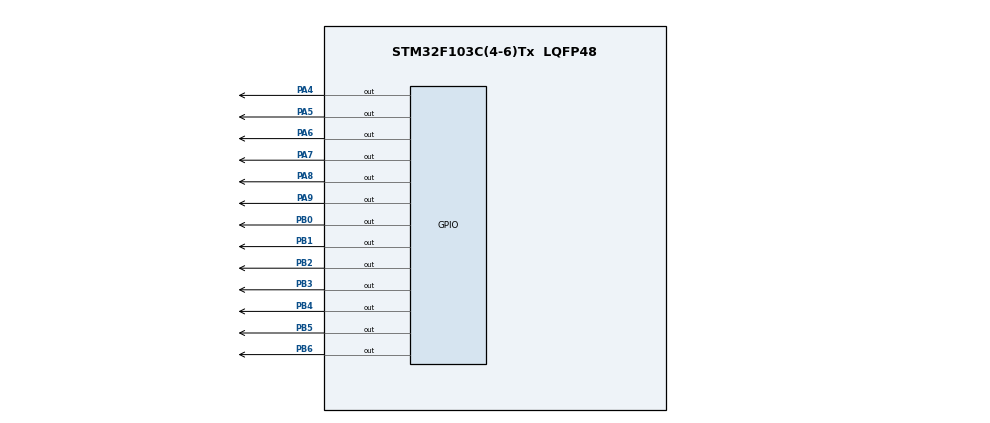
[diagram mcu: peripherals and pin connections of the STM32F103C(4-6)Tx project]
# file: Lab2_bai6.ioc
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Mcu.Family=STM32F1
Mcu.Name=STM32F103C(4-6)Tx
Mcu.Package=LQFP48
NVIC.PriorityGroup=NVIC_PRIORITYGROUP_4
NVIC.TIM2_IRQn=true\:0\:0\:false\:false\:true\:true\:true
PA13.Mode=Serial_Wire
PA13.Signal=SYS_JTMS-SWDIO
PA14.Mode=Serial_Wire
PA14.Signal=SYS_JTCK-SWCLK
PA4.Signal=GPIO_Output
PA5.Signal=GPIO_Output
PA6.Signal=GPIO_Output
PA7.Signal=GPIO_Output
PA8.Signal=GPIO_Output
PA9.Signal=GPIO_Output
PB0.Signal=GPIO_Output
PB1.Signal=GPIO_Output
PB2.Signal=GPIO_Output
PB3.Signal=GPIO_Output
PB4.Signal=GPIO_Output
PB5.Signal=GPIO_Output
PB6.Signal=GPIO_Output
PD0-OSC_IN.Mode=HSE-External-Oscillator
PD0-OSC_IN.Signal=RCC_OSC_IN
PD1-OSC_OUT.Mode=HSE-External-Oscillator
PD1-OSC_OUT.Signal=RCC_OSC_OUT
ProjectManager.HeapSize=0x200
ProjectManager.StackSize=0x400
ProjectManager.TargetToolchain=STM32CubeIDE
RCC.APB1Freq_Value=8000000
RCC.APB2Freq_Value=8000000
TIM2.Period=9
TIM2.Prescaler=7999
VP_TIM2_VS_ClockSourceINT.Mode=Internal
board=custom

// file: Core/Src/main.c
/* USER CODE BEGIN Header */
/**
  ******************************************************************************
  * @file           : main.c
  * @brief          : Main program body
  ******************************************************************************
  * @attention
  *
  * <h2><center>&copy; Copyright (c) 2021 STMicroelectronics.
  * All rights reserved.</center></h2>
  *
  * This software component is licensed by ST under BSD 3-Clause license,
  * the "License"; You may not use this file except in compliance with the
  * License. You may obtain a copy of the License at:
  *                        opensource.org/licenses/BSD-3-Clause
  *
  ******************************************************************************
  */
/* USER CODE END Header */
#include "main.h"

TIM_HandleTypeDef htim2;

void SystemClock_Config(void);
static void MX_GPIO_Init(void);
static void MX_TIM2_Init(void);

/* USER CODE BEGIN 0 */
void display7SEG(int num)
{
	HAL_GPIO_WritePin(GPIOB, GPIO_PIN_0|GPIO_PIN_1|GPIO_PIN_2|GPIO_PIN_3|GPIO_PIN_4|GPIO_PIN_5|GPIO_PIN_6, GPIO_PIN_SET);
	switch (num)
	{
	case 0: HAL_GPIO_WritePin(GPIOB, GPIO_PIN_0|GPIO_PIN_1|GPIO_PIN_2|GPIO_PIN_3|GPIO_PIN_4|GPIO_PIN_5, GPIO_PIN_RESET);
			break;
	case 1: HAL_GPIO_WritePin(GPIOB, GPIO_PIN_1|GPIO_PIN_2, GPIO_PIN_RESET);
			break;
	case 2: HAL_GPIO_WritePin(GPIOB, GPIO_PIN_0|GPIO_PIN_1|GPIO_PIN_3|GPIO_PIN_4|GPIO_PIN_6, GPIO_PIN_RESET);
			break;
	case 3: HAL_GPIO_WritePin(GPIOB, GPIO_PIN_0|GPIO_PIN_1|GPIO_PIN_2|GPIO_PIN_3|GPIO_PIN_6, GPIO_PIN_RESET);
			break;
	case 4: HAL_GPIO_WritePin(GPIOB, GPIO_PIN_1|GPIO_PIN_2|GPIO_PIN_5|GPIO_PIN_6, GPIO_PIN_RESET);
			break;
	case 5: HAL_GPIO_WritePin(GPIOB, GPIO_PIN_0|GPIO_PIN_2|GPIO_PIN_3|GPIO_PIN_5|GPIO_PIN_6, GPIO_PIN_RESET);
			break;
	case 6: HAL_GPIO_WritePin(GPIOB, GPIO_PIN_0|GPIO_PIN_2|GPIO_PIN_3|GPIO_PIN_4|GPIO_PIN_5|GPIO_PIN_6, GPIO_PIN_RESET);
			break;
	case 7: HAL_GPIO_WritePin(GPIOB, GPIO_PIN_0|GPIO_PIN_1|GPIO_PIN_2, GPIO_PIN_RESET);
			break;
	case 8: HAL_GPIO_WritePin(GPIOB, GPIO_PIN_0|GPIO_PIN_1|GPIO_PIN_2|GPIO_PIN_3|GPIO_PIN_4|GPIO_PIN_5|GPIO_PIN_6, GPIO_PIN_RESET);
			break;
	case 9: HAL_GPIO_WritePin(GPIOB, GPIO_PIN_0|GPIO_PIN_1|GPIO_PIN_2|GPIO_PIN_3|GPIO_PIN_5|GPIO_PIN_6, GPIO_PIN_RESET);
			break;
	default: HAL_GPIO_WritePin(GPIOB, GPIO_PIN_2|GPIO_PIN_3|GPIO_PIN_4|GPIO_PIN_5|GPIO_PIN_6, GPIO_PIN_RESET);
			break;
	}
}

int hour = 15, minute = 8, second = 50;
const int MAX_LED = 4;
int index_led = 0;
int led_buffer [4] = {1, 2, 3, 4};
void update7SEG (int index){
	switch(index){
	case 0:
		// Display the first 7 SEG with led_buffer [0]
		display7SEG(led_buffer[0]);
		HAL_GPIO_WritePin(GPIOA, GPIO_PIN_6, GPIO_PIN_RESET);
		HAL_GPIO_WritePin(GPIOA, GPIO_PIN_7 | GPIO_PIN_8 | GPIO_PIN_9, GPIO_PIN_SET);
		break;
	case 1:
		// Display the second 7 SEG with led_buffer [1]
		display7SEG(led_buffer[1]);
		HAL_GPIO_WritePin(GPIOA, GPIO_PIN_7, GPIO_PIN_RESET);
		HAL_GPIO_WritePin(GPIOA, GPIO_PIN_6 | GPIO_PIN_8 | GPIO_PIN_9, GPIO_PIN_SET);
		break;
	case 2:
		// Display the third 7 SEG with led_buffer [2]
		display7SEG(led_buffer[2]);
		HAL_GPIO_WritePin(GPIOA, GPIO_PIN_8, GPIO_PIN_RESET);
		HAL_GPIO_WritePin(GPIOA, GPIO_PIN_6 | GPIO_PIN_7 | GPIO_PIN_9, GPIO_PIN_SET);
		break;
	case 3:
		// Display the forth 7 SEG with led_buffer [3]
		display7SEG(led_buffer[3]);
		HAL_GPIO_WritePin(GPIOA, GPIO_PIN_9, GPIO_PIN_RESET);
		HAL_GPIO_WritePin(GPIOA, GPIO_PIN_6 | GPIO_PIN_7 | GPIO_PIN_8, GPIO_PIN_SET);
		break;
	default:
		break;
	}
}

void updateClockBuffer(){
	led_buffer[0] = hour / 10;
	led_buffer[1] = hour % 10;
	led_buffer[2] = minute / 10;
	led_buffer[3] = minute % 10;
}
int led_index=0;

int timer0_counter = 0;
int timer0_flag = 0;
int TIMER_CYCLE = 10;
void setTimer0 ( int duration ){
	timer0_counter = duration / TIMER_CYCLE ;
	timer0_flag = 0;
}
void timer_run (){
	if( timer0_counter > 0){
		timer0_counter --;
		if( timer0_counter == 0) timer0_flag = 1;
	}
}
/* USER CODE END 0 */

int main(void)
{

  /* MCU Configuration--------------------------------------------------------*/

  /* Reset of all peripherals, Initializes the Flash interface and the Systick. */
  HAL_Init();

  /* Configure the system clock */
  SystemClock_Config();

  /* Initialize all configured peripherals */
  MX_GPIO_Init();
  MX_TIM2_Init();
  /* USER CODE BEGIN 2 */
  HAL_TIM_Base_Start_IT(&htim2);
  /* USER CODE END 2 */

  /* Infinite loop */
  /* USER CODE BEGIN WHILE */
  int counter = 100;
  setTimer0(1000);
  while (1)
  {
	  if (timer0_counter /*counter*/ %50 == 0){
		  HAL_GPIO_TogglePin (GPIOA , GPIO_PIN_5 ); // LED blink every 0.5s
		  if(led_index >= MAX_LED) led_index = 0;
		  update7SEG (led_index++);
	  }
	  if(counter <=0) counter=100;
	  counter--;
	  if( timer0_flag == 1){
		  HAL_GPIO_TogglePin ( GPIOA , GPIO_PIN_4 ); // led DOT 1s
		  second ++;
		  if ( second >= 60){
			  second = 0;
			  minute ++;
		  }
		  if( minute >= 60){
			  minute = 0;
			  hour ++;
		  }
		  if( hour >=24) hour = 0;
	  }
	  updateClockBuffer();
	  setTimer0(1000); // HAL_Delay(1000)
  }
  /* USER CODE END 3 */
}

void SystemClock_Config(void)
{
  RCC_OscInitTypeDef RCC_OscInitStruct = {0};
  RCC_ClkInitTypeDef RCC_ClkInitStruct = {0};

  /** Initializes the RCC Oscillators according to the specified parameters
  * in the RCC_OscInitTypeDef structure.
  */
  RCC_OscInitStruct.OscillatorType = RCC_OSCILLATORTYPE_HSI;
  RCC_OscInitStruct.HSIState = RCC_HSI_ON;
  RCC_OscInitStruct.HSICalibrationValue = RCC_HSICALIBRATION_DEFAULT;
  RCC_OscInitStruct.PLL.PLLState = RCC_PLL_NONE;
  if (HAL_RCC_OscConfig(&RCC_OscInitStruct) != HAL_OK)
  {
    Error_Handler();
  }
  /** Initializes the CPU, AHB and APB buses clocks
  */
  RCC_ClkInitStruct.ClockType = RCC_CLOCKTYPE_HCLK|RCC_CLOCKTYPE_SYSCLK
                              |RCC_CLOCKTYPE_PCLK1|RCC_CLOCKTYPE_PCLK2;
  RCC_ClkInitStruct.SYSCLKSource = RCC_SYSCLKSOURCE_HSI;
  RCC_ClkInitStruct.AHBCLKDivider = RCC_SYSCLK_DIV1;
  RCC_ClkInitStruct.APB1CLKDivider = RCC_HCLK_DIV1;
  RCC_ClkInitStruct.APB2CLKDivider = RCC_HCLK_DIV1;

  if (HAL_RCC_ClockConfig(&RCC_ClkInitStruct, FLASH_LATENCY_0) != HAL_OK)
  {
    Error_Handler();
  }
}

static void MX_TIM2_Init(void)
{

  TIM_ClockConfigTypeDef sClockSourceConfig = {0};
  TIM_MasterConfigTypeDef sMasterConfig = {0};

  htim2.Instance = TIM2;
  htim2.Init.Prescaler = 7999;
  htim2.Init.CounterMode = TIM_COUNTERMODE_UP;
  htim2.Init.Period = 9;
  htim2.Init.ClockDivision = TIM_CLOCKDIVISION_DIV1;
  htim2.Init.AutoReloadPreload = TIM_AUTORELOAD_PRELOAD_DISABLE;
  if (HAL_TIM_Base_Init(&htim2) != HAL_OK)
  {
    Error_Handler();
  }
  sClockSourceConfig.ClockSource = TIM_CLOCKSOURCE_INTERNAL;
  if (HAL_TIM_ConfigClockSource(&htim2, &sClockSourceConfig) != HAL_OK)
  {
    Error_Handler();
  }
  sMasterConfig.MasterOutputTrigger = TIM_TRGO_RESET;
  sMasterConfig.MasterSlaveMode = TIM_MASTERSLAVEMODE_DISABLE;
  if (HAL_TIMEx_MasterConfigSynchronization(&htim2, &sMasterConfig) != HAL_OK)
  {
    Error_Handler();
  }

}

static void MX_GPIO_Init(void)
{
  GPIO_InitTypeDef GPIO_InitStruct = {0};

  /* GPIO Ports Clock Enable */
  __HAL_RCC_GPIOD_CLK_ENABLE();
  __HAL_RCC_GPIOA_CLK_ENABLE();
  __HAL_RCC_GPIOB_CLK_ENABLE();

  /*Configure GPIO pin Output Level */
  HAL_GPIO_WritePin(GPIOA, GPIO_PIN_4|GPIO_PIN_5|GPIO_PIN_6|GPIO_PIN_7
                          |GPIO_PIN_8|GPIO_PIN_9, GPIO_PIN_RESET);

  /*Configure GPIO pin Output Level */
  HAL_GPIO_WritePin(GPIOB, GPIO_PIN_0|GPIO_PIN_1|GPIO_PIN_2|GPIO_PIN_3
                          |GPIO_PIN_4|GPIO_PIN_5|GPIO_PIN_6, GPIO_PIN_RESET);

  /*Configure GPIO pins : PA4 PA5 PA6 PA7
                           PA8 PA9 */
  GPIO_InitStruct.Pin = GPIO_PIN_4|GPIO_PIN_5|GPIO_PIN_6|GPIO_PIN_7
                          |GPIO_PIN_8|GPIO_PIN_9;
  GPIO_InitStruct.Mode = GPIO_MODE_OUTPUT_PP;
  GPIO_InitStruct.Pull = GPIO_NOPULL;
  GPIO_InitStruct.Speed = GPIO_SPEED_FREQ_LOW;
  HAL_GPIO_Init(GPIOA, &GPIO_InitStruct);

  /*Configure GPIO pins : PB0 PB1 PB2 PB3
                           PB4 PB5 PB6 */
  GPIO_InitStruct.Pin = GPIO_PIN_0|GPIO_PIN_1|GPIO_PIN_2|GPIO_PIN_3
                          |GPIO_PIN_4|GPIO_PIN_5|GPIO_PIN_6;
  GPIO_InitStruct.Mode = GPIO_MODE_OUTPUT_PP;
  GPIO_InitStruct.Pull = GPIO_NOPULL;
  GPIO_InitStruct.Speed = GPIO_SPEED_FREQ_LOW;
  HAL_GPIO_Init(GPIOB, &GPIO_InitStruct);

}

/* USER CODE BEGIN 4 */
// timer
void HAL_TIM_PeriodElapsedCallback ( TIM_HandleTypeDef * htim ){
	if(htim->Instance == htim2.Instance){
		timer_run();
	}
}

/* USER CODE END 4 */

void Error_Handler(void)
{
  __disable_irq();
  while (1)
  {
  }
}

/************************ (C) COPYRIGHT STMicroelectronics *****END OF FILE****/
